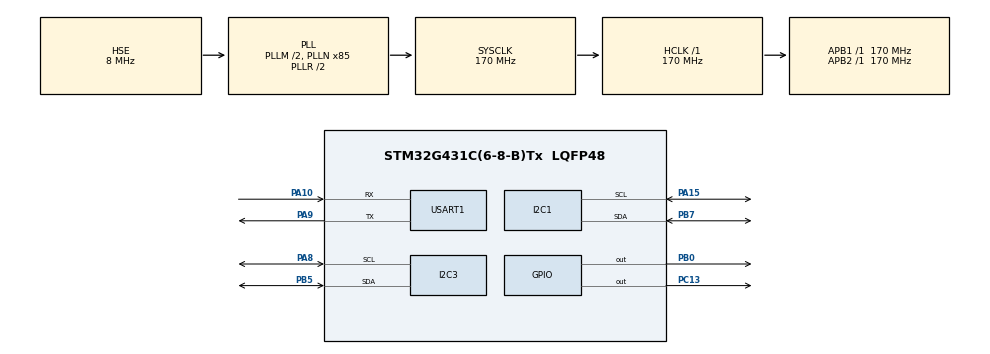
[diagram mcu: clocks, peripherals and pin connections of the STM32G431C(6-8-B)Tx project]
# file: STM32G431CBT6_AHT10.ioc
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I2C1.Timing=0x30A0A7FB
I2C3.Timing=0x30A0A7FB
Mcu.Family=STM32G4
Mcu.Name=STM32G431C(6-8-B)Tx
Mcu.Package=LQFP48
NVIC.PriorityGroup=NVIC_PRIORITYGROUP_4
PA10.Mode=Asynchronous
PA10.Signal=USART1_RX
PA13.Mode=Serial_Wire
PA13.Signal=SYS_JTMS-SWDIO
PA14.Mode=Serial_Wire
PA14.Signal=SYS_JTCK-SWCLK
PA15.Mode=I2C
PA15.Signal=I2C1_SCL
PA8.Mode=I2C
PA8.Signal=I2C3_SCL
PA9.Mode=Asynchronous
PA9.Signal=USART1_TX
PB0.PinState=GPIO_PIN_SET
PB0.Signal=GPIO_Output
PB5.Mode=I2C
PB5.Signal=I2C3_SDA
PB7.Mode=I2C
PB7.Signal=I2C1_SDA
PC13.PinState=GPIO_PIN_SET
PC13.Signal=GPIO_Output
PF0-OSC_IN.Mode=HSE-External-Oscillator
PF0-OSC_IN.Signal=RCC_OSC_IN
PF1-OSC_OUT.Mode=HSE-External-Oscillator
PF1-OSC_OUT.Signal=RCC_OSC_OUT
ProjectManager.HeapSize=0x200
ProjectManager.StackSize=0x400
ProjectManager.TargetToolchain=Makefile
RCC.ADC12Freq_Value=170000000
RCC.AHBFreq_Value=170000000
RCC.APB1Freq_Value=170000000
RCC.APB1TimFreq_Value=170000000
RCC.APB2Freq_Value=170000000
RCC.APB2TimFreq_Value=170000000
RCC.CK48CLockSelection=RCC_USBCLKSOURCE_HSI48
RCC.CortexFreq_Value=170000000
RCC.EXTERNAL_CLOCK_VALUE=12288000
RCC.HCLKFreq_Value=170000000
RCC.HSE_VALUE=8000000
RCC.HSI48_VALUE=48000000
RCC.HSI_VALUE=16000000
RCC.LSE_VALUE=32768
RCC.PLLM=RCC_PLLM_DIV2
RCC.PLLN=85
RCC.PLLSourceVirtual=RCC_PLLSOURCE_HSE
RCC.SYSCLKFreq_VALUE=170000000
RCC.SYSCLKSource=RCC_SYSCLKSOURCE_PLLCLK
RCC.USBFreq_Value=48000000
RCC.VCOOutputFreq_Value=340000000
USART1.VirtualMode-Asynchronous=VM_ASYNC
VP_SYS_VS_DBSignals.Mode=DisableDeadBatterySignals
board=custom

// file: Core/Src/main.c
/* USER CODE BEGIN Header */
/**
  ******************************************************************************
  * @file           : main.c
  * @brief          : Main program body
  ******************************************************************************
  * @attention
  *
  * Copyright (c) 2023 STMicroelectronics.
  * All rights reserved.
  *
  * This software is licensed under terms that can be found in the LICENSE file
  * in the root directory of this software component.
  * If no LICENSE file comes with this software, it is provided AS-IS.
  *
  ******************************************************************************
  */
/* USER CODE END Header */
#include "main.h"
#include "i2c.h"
#include "usart.h"
#include "gpio.h"

/* USER CODE BEGIN Includes */
#include "AHT10.h"
#include "stdio.h"
/* USER CODE END Includes */

/* USER CODE BEGIN PV */
float Temperature=0.0;
float Humidity=0.0;
uint8_t Flag=0;
/* USER CODE END PV */

void SystemClock_Config(void);

int main(void)
{

  /* MCU Configuration--------------------------------------------------------*/

  /* Reset of all peripherals, Initializes the Flash interface and the Systick. */
  HAL_Init();

  /* Configure the system clock */
  SystemClock_Config();

  /* Initialize all configured peripherals */
  MX_GPIO_Init();
  MX_I2C1_Init();
  MX_USART1_UART_Init();
  MX_I2C3_Init();
  /* USER CODE BEGIN 2 */
  AHT10_Reset();
  AHT10_Init();
  HAL_Delay(100);
  /* USER CODE END 2 */

  /* Infinite loop */
  /* USER CODE BEGIN WHILE */
  while (1)
  {
    HAL_GPIO_WritePin(GPIOC,GPIO_PIN_13,GPIO_PIN_RESET);

    Flag=AHT10_Measure(&Temperature,&Humidity);

    switch (Flag)
    {
    case 0:
        HAL_GPIO_WritePin(GPIOB,GPIO_PIN_0,GPIO_PIN_SET);
      break;

    case 1:
        HAL_GPIO_WritePin(GPIOB,GPIO_PIN_0,GPIO_PIN_RESET);
      break;
    }

    printf("Temperature: %.2f, Humidity: %.2f\n",Temperature,Humidity);

    HAL_GPIO_WritePin(GPIOC,GPIO_PIN_13,GPIO_PIN_SET);
    HAL_Delay(1000);
    /* USER CODE END WHILE */

  }
}

void SystemClock_Config(void)
{
  RCC_OscInitTypeDef RCC_OscInitStruct = {0};
  RCC_ClkInitTypeDef RCC_ClkInitStruct = {0};

  /** Configure the main internal regulator output voltage
  */
  HAL_PWREx_ControlVoltageScaling(PWR_REGULATOR_VOLTAGE_SCALE1_BOOST);

  /** Initializes the RCC Oscillators according to the specified parameters
  * in the RCC_OscInitTypeDef structure.
  */
  RCC_OscInitStruct.OscillatorType = RCC_OSCILLATORTYPE_HSE;
  RCC_OscInitStruct.HSEState = RCC_HSE_ON;
  RCC_OscInitStruct.PLL.PLLState = RCC_PLL_ON;
  RCC_OscInitStruct.PLL.PLLSource = RCC_PLLSOURCE_HSE;
  RCC_OscInitStruct.PLL.PLLM = RCC_PLLM_DIV2;
  RCC_OscInitStruct.PLL.PLLN = 85;
  RCC_OscInitStruct.PLL.PLLP = RCC_PLLP_DIV2;
  RCC_OscInitStruct.PLL.PLLQ = RCC_PLLQ_DIV2;
  RCC_OscInitStruct.PLL.PLLR = RCC_PLLR_DIV2;
  if (HAL_RCC_OscConfig(&RCC_OscInitStruct) != HAL_OK)
  {
    Error_Handler();
  }

  /** Initializes the CPU, AHB and APB buses clocks
  */
  RCC_ClkInitStruct.ClockType = RCC_CLOCKTYPE_HCLK|RCC_CLOCKTYPE_SYSCLK
                              |RCC_CLOCKTYPE_PCLK1|RCC_CLOCKTYPE_PCLK2;
  RCC_ClkInitStruct.SYSCLKSource = RCC_SYSCLKSOURCE_PLLCLK;
  RCC_ClkInitStruct.AHBCLKDivider = RCC_SYSCLK_DIV1;
  RCC_ClkInitStruct.APB1CLKDivider = RCC_HCLK_DIV1;
  RCC_ClkInitStruct.APB2CLKDivider = RCC_HCLK_DIV1;

  if (HAL_RCC_ClockConfig(&RCC_ClkInitStruct, FLASH_LATENCY_4) != HAL_OK)
  {
    Error_Handler();
  }
}

void Error_Handler(void)
{
  __disable_irq();
  while (1)
  {
  }
}
